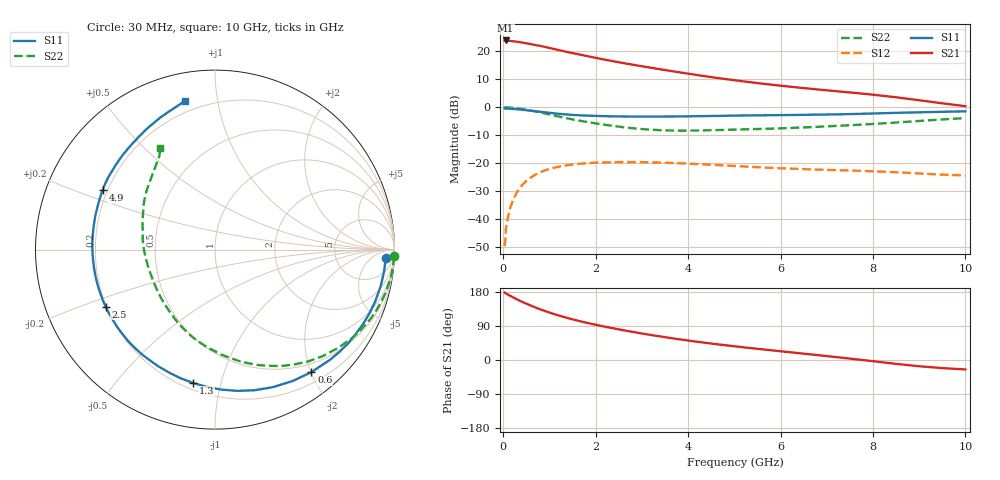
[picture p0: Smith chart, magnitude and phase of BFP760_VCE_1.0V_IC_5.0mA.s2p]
! Infineon Technologies  Discrete & RF Semiconductors
! BFP760
! VCE =  1.0 V,  IC =  5.0 mA
! Common Emitter S-Parameters:  Nov 2012
# GHz  S  MA  R  50
!  f  S11  S21  S12  S22
! GHz  MAG  ANG  MAG  ANG  MAG  ANG  MAG  ANG
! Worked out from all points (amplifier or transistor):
!   99 points, 30 MHz to 10 GHz, reference 50 ohm
!   highest |S21| = 23.9 dB at 50 MHz (marker M1)
!   |S21| within 3 dB of that: start of sweep to 1.083 GHz
!   unconditionally stable (mu >= 1): 6.345 GHz to end of sweep
!   at 350 MHz: K = 0.08, MSG = 26.2 dB, |S12| = -29.1 dB
!   at 3.5 GHz: K = 0.48, MSG = 16.6 dB, |S12| = -19.8 dB
!   at 10 GHz: K = 1.41, MAG = 8.6 dB, |S12| = -24.3 dB
!   S11 on the Smith chart (normalised r, x): 30 MHz: 20, -21; 600 MHz: 0.36, -2.01; 1.3 GHz: 0.24, -0.82; 2.5 GHz: 0.20, -0.24; 4.9 GHz: 0.18, +0.24; 10 GHz: 0.14, +0.81
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0.03  0.9526 -2.8  15.43 178.0  0.0033 88.2  0.9982 -2.2
0.05  0.9505 -4.6  15.66 176.1  0.0048 85.2  0.9969 -3.5
0.06  0.9505 -5.6  15.64 175.6  0.0071 86.0  0.9968 -4.2
0.15  0.9429 -13.8  15.39 169.5  0.0159 83.1  0.988 -10.5
0.35  0.9137 -31.3  14.63 156.9  0.0352 71.1  0.9499 -23.8
0.45  0.8969 -39.6  14.18 151.2  0.0441 65.9  0.9233 -30.0
0.6  0.8687 -51.8  13.47 143.5  0.0559 58.9  0.875 -39.1
0.8  0.8315 -67.2  12.53 133.7  0.069 50.3  0.811 -50.2
0.9  0.8142 -74.2  12.01 129.4  0.0746 46.3  0.7765 -55.6
1.1  0.7811 -87.3  11.01 121.3  0.0833 39.3  0.7129 -65.3
1.3  0.753 -99.3  10.1 113.9  0.0898 33.2  0.6565 -74.2
1.7  0.7159 -120.4  8.609 101.2  0.0986 23.5  0.5666 -89.9
2.1  0.698 -137.8  7.374 90.3  0.103 15.3  0.5012 -104.9
2.5  0.6876 -152.5  6.388 80.8  0.1049 8.5  0.452 -118.4
3  0.682 -168.4  5.417 70.0  0.1046 1.4  0.4091 -134.9
3.4  0.6827 -179.5  4.777 62.2  0.1028 -3.2  0.3906 -147.4
4.2  0.6938 162.9  3.769 48.1  0.0967 -10.7  0.3853 -168.5
4.9  0.7083 152.0  3.127 37.6  0.0904 -15.0  0.3975 178.6
5.1  0.7127 149.5  2.978 34.9  0.0887 -15.9  0.4018 175.6
6.7  0.7379 133.4  2.126 14.2  0.0776 -19.2  0.4442 154.8
8.5  0.7962 112.6  1.512 -10.2  0.0691 -22.0  0.5341 131.9
10  0.8463 101.5  1.047 -24.9  0.0607 -18.5  0.6424 118.3
